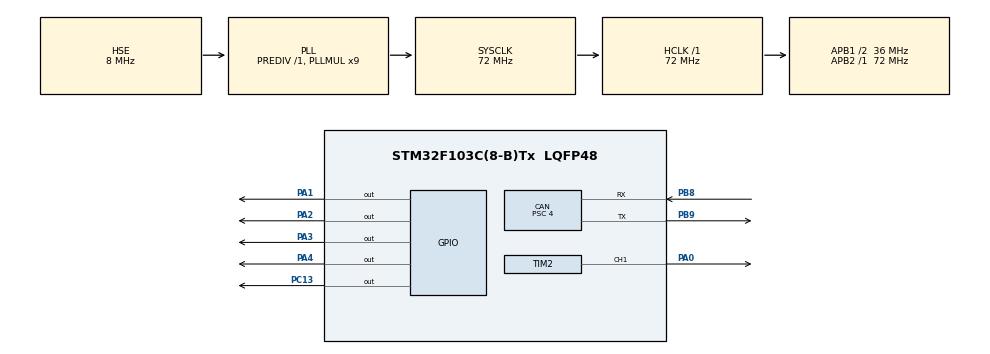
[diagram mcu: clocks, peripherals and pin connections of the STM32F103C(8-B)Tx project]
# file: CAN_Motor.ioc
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CAN.BS1=CAN_BS1_15TQ
CAN.BS2=CAN_BS2_2TQ
CAN.CalculateBaudRate=500000
CAN.CalculateTimeBit=2000
CAN.CalculateTimeQuantum=111.11111111111111
CAN.Prescaler=4
Mcu.Family=STM32F1
Mcu.Name=STM32F103C(8-B)Tx
Mcu.Package=LQFP48
NVIC.CAN1_RX1_IRQn=true\:0\:0\:false\:false\:true\:true\:true\:true
NVIC.PriorityGroup=NVIC_PRIORITYGROUP_4
NVIC.USB_HP_CAN1_TX_IRQn=true\:0\:0\:false\:false\:true\:true\:true\:true
NVIC.USB_LP_CAN1_RX0_IRQn=true\:0\:0\:false\:false\:true\:true\:true\:true
PA0-WKUP.Signal=S_TIM2_CH1_ETR
PA1.Signal=GPIO_Output
PA13.Mode=Serial_Wire
PA13.Signal=SYS_JTMS-SWDIO
PA14.Mode=Serial_Wire
PA14.Signal=SYS_JTCK-SWCLK
PA2.Signal=GPIO_Output
PA3.Signal=GPIO_Output
PA4.Signal=GPIO_Output
PB8.GPIO_PuPd=GPIO_PULLUP
PB8.Mode=CAN_Activate
PB8.Signal=CAN_RX
PB9.Mode=CAN_Activate
PB9.Signal=CAN_TX
PC13-TAMPER-RTC.Signal=GPIO_Output
PD0-OSC_IN.Mode=HSE-External-Oscillator
PD0-OSC_IN.Signal=RCC_OSC_IN
PD1-OSC_OUT.Mode=HSE-External-Oscillator
PD1-OSC_OUT.Signal=RCC_OSC_OUT
ProjectManager.HeapSize=0x200
ProjectManager.StackSize=0x400
ProjectManager.TargetToolchain=STM32CubeIDE
RCC.AHBFreq_Value=72000000
RCC.APB1CLKDivider=RCC_HCLK_DIV2
RCC.APB1Freq_Value=36000000
RCC.APB1TimFreq_Value=72000000
RCC.APB2Freq_Value=72000000
RCC.APB2TimFreq_Value=72000000
RCC.HCLKFreq_Value=72000000
RCC.PLLMUL=RCC_PLL_MUL9
RCC.PLLSourceVirtual=RCC_PLLSOURCE_HSE
RCC.SYSCLKFreq_VALUE=72000000
RCC.SYSCLKSource=RCC_SYSCLKSOURCE_PLLCLK
RCC.USBFreq_Value=72000000
SH.S_TIM2_CH1_ETR.0=TIM2_CH1,PWM Generation1 CH1
TIM2.Channel-PWM\ Generation1\ CH1=TIM_CHANNEL_1
TIM2.Period=0
TIM2.Prescaler=7199
board=custom

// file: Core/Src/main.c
/* USER CODE BEGIN Header */
/**
  ******************************************************************************
  * @file           : main.c
  * @brief          : Main program body
  ******************************************************************************
  * @attention
  *
  * Copyright (c) 2024 STMicroelectronics.
  * All rights reserved.
  *
  * This software is licensed under terms that can be found in the LICENSE file
  * in the root directory of this software component.
  * If no LICENSE file comes with this software, it is provided AS-IS.
  *
  ******************************************************************************
  */
/* USER CODE END Header */
#include "main.h"

CAN_HandleTypeDef hcan;

TIM_HandleTypeDef htim2;

/* USER CODE BEGIN PV */
CAN_TxHeaderTypeDef TxHeader;
uint32_t TxMailbox;
uint8_t TxData[3];
CAN_RxHeaderTypeDef RxHeader;
uint8_t RxData[8];
uint16_t adc_value = 0;
uint8_t mode = 0;
uint8_t direction = 0;
/* USER CODE END PV */

void SystemClock_Config(void);
static void MX_GPIO_Init(void);
static void MX_CAN_Init(void);
static void MX_TIM2_Init(void);

/* USER CODE BEGIN 0 */
void Set_direction(uint8_t direction)
{
	if(direction == 0)
	{
		HAL_GPIO_WritePin(GPIOA, GPIO_PIN_1, GPIO_PIN_SET);
		HAL_GPIO_WritePin(GPIOA, GPIO_PIN_2, GPIO_PIN_RESET);
		HAL_GPIO_WritePin(GPIOA, GPIO_PIN_4, GPIO_PIN_SET);
		HAL_GPIO_WritePin(GPIOA, GPIO_PIN_3, GPIO_PIN_RESET);
	}
	else
	{
		HAL_GPIO_WritePin(GPIOA, GPIO_PIN_1, GPIO_PIN_RESET);
		HAL_GPIO_WritePin(GPIOA, GPIO_PIN_2, GPIO_PIN_SET);
		HAL_GPIO_WritePin(GPIOA, GPIO_PIN_4, GPIO_PIN_RESET);
		HAL_GPIO_WritePin(GPIOA, GPIO_PIN_3, GPIO_PIN_SET);
	}
}
void Set_mode(uint8_t mode)
{
	if(mode == 0) //stop
		{
			HAL_GPIO_WritePin(GPIOA, GPIO_PIN_1, GPIO_PIN_SET);
			HAL_GPIO_WritePin(GPIOA, GPIO_PIN_2, GPIO_PIN_SET);
			HAL_GPIO_WritePin(GPIOA, GPIO_PIN_4, GPIO_PIN_SET);
			HAL_GPIO_WritePin(GPIOA, GPIO_PIN_3, GPIO_PIN_SET);
		}
		else
		{
			HAL_GPIO_WritePin(GPIOA, GPIO_PIN_1, GPIO_PIN_RESET);
			HAL_GPIO_WritePin(GPIOA, GPIO_PIN_2, GPIO_PIN_SET);
			HAL_GPIO_WritePin(GPIOA, GPIO_PIN_4, GPIO_PIN_RESET);
			HAL_GPIO_WritePin(GPIOA, GPIO_PIN_3, GPIO_PIN_SET);
		}

}
void HAL_CAN_RxFifo0MsgPendingCallback(CAN_HandleTypeDef *hcan)
{
    //DBG("HAL_CAN_RxFifo0MsgPendingCallback");
    if (HAL_CAN_GetRxMessage(hcan, CAN_RX_FIFO0, &RxHeader, RxData) == HAL_OK)
    {
    	adc_value = ((uint16_t)RxData[0] << 8) | RxData[1];
    	mode = RxData[2];
    	direction = RxData[3];
    	HAL_GPIO_TogglePin(GPIOC, GPIO_PIN_13);
    }
}
/* USER CODE END 0 */

int main(void)
{

  /* MCU Configuration--------------------------------------------------------*/

  /* Reset of all peripherals, Initializes the Flash interface and the Systick. */
  HAL_Init();

  /* Configure the system clock */
  SystemClock_Config();

  /* Initialize all configured peripherals */
  MX_GPIO_Init();
  MX_CAN_Init();
  MX_TIM2_Init();
  /* USER CODE BEGIN 2 */
  //PWM for motor
  HAL_TIM_PWM_Start(&htim2, TIM_CHANNEL_1);
  __HAL_TIM_SET_AUTORELOAD(&htim2, 399);

  //CAN Configuration
  CAN_FilterTypeDef canfilterconfig;

  canfilterconfig.FilterActivation = CAN_FILTER_ENABLE;
  canfilterconfig.FilterBank = 12;  // anything between 0 to SlaveStartFilterBank
  canfilterconfig.FilterFIFOAssignment = CAN_FILTER_FIFO0;
  canfilterconfig.FilterIdHigh = 0x100<<5;
  canfilterconfig.FilterIdLow = 0x0000;
      //canfilterconfig.FilterMaskIdHigh = 0x1<<13;
  canfilterconfig.FilterMaskIdHigh = 0x100<<5;
  canfilterconfig.FilterMaskIdLow = 0x0;
  canfilterconfig.FilterMode = CAN_FILTERMODE_IDMASK;
  canfilterconfig.FilterScale = CAN_FILTERSCALE_32BIT;
  canfilterconfig.SlaveStartFilterBank = 13;  // 13 to 27 are assigned to slave CAN (CAN 2) OR 0 to 12 are assgned to CAN1

  HAL_CAN_ConfigFilter(&hcan, &canfilterconfig);

  HAL_CAN_Start(&hcan);

  if (HAL_CAN_ActivateNotification(&hcan, CAN_IT_RX_FIFO0_MSG_PENDING) != HAL_OK)
  {
	  Error_Handler();
  }

  /* USER CODE END 2 */

  /* Infinite loop */
  while (1)
  {

    /* USER CODE BEGIN 3 */
	  if(mode == 0)
	  {
			HAL_GPIO_WritePin(GPIOA, GPIO_PIN_1, GPIO_PIN_SET);
			HAL_GPIO_WritePin(GPIOA, GPIO_PIN_2, GPIO_PIN_SET);
			HAL_GPIO_WritePin(GPIOA, GPIO_PIN_4, GPIO_PIN_SET);
			HAL_GPIO_WritePin(GPIOA, GPIO_PIN_3, GPIO_PIN_SET);
	  }
	  else Set_direction(direction);
	  __HAL_TIM_SET_COMPARE(&htim2, TIM_CHANNEL_1, adc_value*399/4024);
	  TxHeader.ExtId = 0;
	  TxHeader.IDE = CAN_ID_STD;
	  TxHeader.StdId = 0x200;
	  TxHeader.RTR = CAN_RTR_DATA;
	  TxHeader.DLC = 4;
	  TxData[0] = (int)adc_value*399/4024; // Lấy 8 bit cao
	  TxData[1] = mode;
	  TxData[2] = direction;
	  if (HAL_CAN_AddTxMessage(&hcan, &TxHeader, TxData, &TxMailbox) != HAL_OK)
	  {
		  Error_Handler();
	  }
	  HAL_Delay(500);
  }
  /* USER CODE END 3 */
}

void SystemClock_Config(void)
{
  RCC_OscInitTypeDef RCC_OscInitStruct = {0};
  RCC_ClkInitTypeDef RCC_ClkInitStruct = {0};

  /** Initializes the RCC Oscillators according to the specified parameters
  * in the RCC_OscInitTypeDef structure.
  */
  RCC_OscInitStruct.OscillatorType = RCC_OSCILLATORTYPE_HSE;
  RCC_OscInitStruct.HSEState = RCC_HSE_ON;
  RCC_OscInitStruct.HSEPredivValue = RCC_HSE_PREDIV_DIV1;
  RCC_OscInitStruct.HSIState = RCC_HSI_ON;
  RCC_OscInitStruct.PLL.PLLState = RCC_PLL_ON;
  RCC_OscInitStruct.PLL.PLLSource = RCC_PLLSOURCE_HSE;
  RCC_OscInitStruct.PLL.PLLMUL = RCC_PLL_MUL9;
  if (HAL_RCC_OscConfig(&RCC_OscInitStruct) != HAL_OK)
  {
    Error_Handler();
  }

  /** Initializes the CPU, AHB and APB buses clocks
  */
  RCC_ClkInitStruct.ClockType = RCC_CLOCKTYPE_HCLK|RCC_CLOCKTYPE_SYSCLK
                              |RCC_CLOCKTYPE_PCLK1|RCC_CLOCKTYPE_PCLK2;
  RCC_ClkInitStruct.SYSCLKSource = RCC_SYSCLKSOURCE_PLLCLK;
  RCC_ClkInitStruct.AHBCLKDivider = RCC_SYSCLK_DIV1;
  RCC_ClkInitStruct.APB1CLKDivider = RCC_HCLK_DIV2;
  RCC_ClkInitStruct.APB2CLKDivider = RCC_HCLK_DIV1;

  if (HAL_RCC_ClockConfig(&RCC_ClkInitStruct, FLASH_LATENCY_2) != HAL_OK)
  {
    Error_Handler();
  }
}

static void MX_CAN_Init(void)
{

  hcan.Instance = CAN1;
  hcan.Init.Prescaler = 4;
  hcan.Init.Mode = CAN_MODE_NORMAL;
  hcan.Init.SyncJumpWidth = CAN_SJW_1TQ;
  hcan.Init.TimeSeg1 = CAN_BS1_15TQ;
  hcan.Init.TimeSeg2 = CAN_BS2_2TQ;
  hcan.Init.TimeTriggeredMode = DISABLE;
  hcan.Init.AutoBusOff = DISABLE;
  hcan.Init.AutoWakeUp = DISABLE;
  hcan.Init.AutoRetransmission = DISABLE;
  hcan.Init.ReceiveFifoLocked = DISABLE;
  hcan.Init.TransmitFifoPriority = DISABLE;
  if (HAL_CAN_Init(&hcan) != HAL_OK)
  {
    Error_Handler();
  }

}

static void MX_TIM2_Init(void)
{

  TIM_MasterConfigTypeDef sMasterConfig = {0};
  TIM_OC_InitTypeDef sConfigOC = {0};

  htim2.Instance = TIM2;
  htim2.Init.Prescaler = 7199;
  htim2.Init.CounterMode = TIM_COUNTERMODE_UP;
  htim2.Init.Period = 0;
  htim2.Init.ClockDivision = TIM_CLOCKDIVISION_DIV1;
  htim2.Init.AutoReloadPreload = TIM_AUTORELOAD_PRELOAD_DISABLE;
  if (HAL_TIM_PWM_Init(&htim2) != HAL_OK)
  {
    Error_Handler();
  }
  sMasterConfig.MasterOutputTrigger = TIM_TRGO_RESET;
  sMasterConfig.MasterSlaveMode = TIM_MASTERSLAVEMODE_DISABLE;
  if (HAL_TIMEx_MasterConfigSynchronization(&htim2, &sMasterConfig) != HAL_OK)
  {
    Error_Handler();
  }
  sConfigOC.OCMode = TIM_OCMODE_PWM1;
  sConfigOC.Pulse = 0;
  sConfigOC.OCPolarity = TIM_OCPOLARITY_HIGH;
  sConfigOC.OCFastMode = TIM_OCFAST_DISABLE;
  if (HAL_TIM_PWM_ConfigChannel(&htim2, &sConfigOC, TIM_CHANNEL_1) != HAL_OK)
  {
    Error_Handler();
  }
  HAL_TIM_MspPostInit(&htim2);

}

static void MX_GPIO_Init(void)
{
  GPIO_InitTypeDef GPIO_InitStruct = {0};

  /* GPIO Ports Clock Enable */
  __HAL_RCC_GPIOC_CLK_ENABLE();
  __HAL_RCC_GPIOD_CLK_ENABLE();
  __HAL_RCC_GPIOA_CLK_ENABLE();
  __HAL_RCC_GPIOB_CLK_ENABLE();

  /*Configure GPIO pin Output Level */
  HAL_GPIO_WritePin(GPIOC, GPIO_PIN_13, GPIO_PIN_RESET);

  /*Configure GPIO pin Output Level */
  HAL_GPIO_WritePin(GPIOA, GPIO_PIN_1|GPIO_PIN_2|GPIO_PIN_3|GPIO_PIN_4, GPIO_PIN_RESET);

  /*Configure GPIO pin : PC13 */
  GPIO_InitStruct.Pin = GPIO_PIN_13;
  GPIO_InitStruct.Mode = GPIO_MODE_OUTPUT_PP;
  GPIO_InitStruct.Pull = GPIO_NOPULL;
  GPIO_InitStruct.Speed = GPIO_SPEED_FREQ_LOW;
  HAL_GPIO_Init(GPIOC, &GPIO_InitStruct);

  /*Configure GPIO pins : PA1 PA2 PA3 PA4 */
  GPIO_InitStruct.Pin = GPIO_PIN_1|GPIO_PIN_2|GPIO_PIN_3|GPIO_PIN_4;
  GPIO_InitStruct.Mode = GPIO_MODE_OUTPUT_PP;
  GPIO_InitStruct.Pull = GPIO_NOPULL;
  GPIO_InitStruct.Speed = GPIO_SPEED_FREQ_LOW;
  HAL_GPIO_Init(GPIOA, &GPIO_InitStruct);

}

void Error_Handler(void)
{
  __disable_irq();
  while (1)
  {
  }
}
